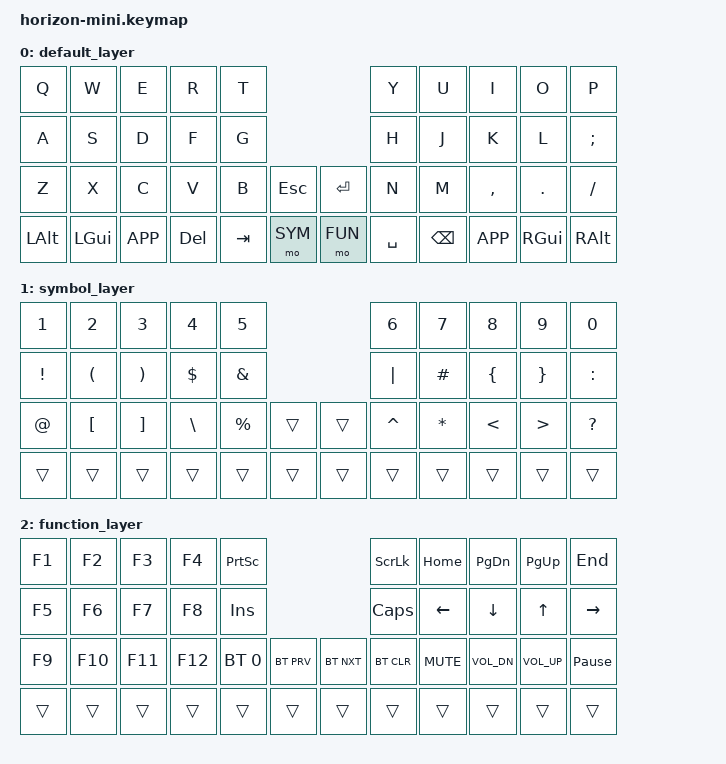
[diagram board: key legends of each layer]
/*
 * Copyright (c) 2021 The ZMK Contributors
 *
 * SPDX-License-Identifier: MIT
 */

#include <behaviors.dtsi>
#include <dt-bindings/zmk/keys.h>
#include <dt-bindings/zmk/bt.h>

#define DEF 0
#define SYM 1
#define FUN 2

/ {
    keymap {
        compatible = "zmk,keymap";

        default_layer {
            // -------------------------------------------------------------------------------------------------
            // |   Q   |   W   |   E   |   R   |   T   |---------------|   Y   |   U   |   I   |   O   |   P   |
            // |   A   |   S   |   D   |   F   |   G   |---------------|   H   |   J   |   K   |   L   |   ;   |
            // |   Z   |   X   |   C   |   V   |   B   |  ESC  | ENTER |   N   |   M   |   ,   |   .   |   /   |
            // | LALT  | LGUI  | K_APP |  DEL  |  TAB  |  SYM  |  FUN  | SPACE | BSPC  | K_APP | RGUI  | RALT  |
            bindings = <
                &kp Q    &kp W    &kp E     &kp R   &kp T                     &kp Y     &kp U    &kp I     &kp O    &kp P    
                &kp A    &kp S    &kp D     &kp F   &kp G                     &kp H     &kp J    &kp K     &kp L    &kp SEMI 
                &kp Z    &kp X    &kp C     &kp V   &kp B   &kp ESC &kp ENTER &kp N     &kp M    &kp COMMA &kp DOT  &kp SLASH
                &kp LALT &kp LGUI &kp K_APP &kp DEL &kp TAB &mo SYM &mo FUN   &kp SPACE &kp BSPC &kp K_APP &kp RGUI &kp RALT 
            >;
        };

        symbol_layer {
            // -------------------------------------------------------------------------------------------------
            // |   1   |   2   |   3   |   4   |   5   |---------------|   6   |   7   |   8   |   9   |   0   |
            // |   !   |   (   |   )   |   $   |   &   |---------------|   |   |   #   |   {   |   }   |   :   |
            // |   @   |   [   |   ]   |   \   |   %   |       |       |   ^   |   *   |   <   |   >   |   ?   |
            // |       |       |       |       |       |       |       |       |       |       |       |       |
            bindings = <
                &kp N1   &kp N2   &kp N3   &kp N4   &kp N5                  &kp N6    &kp N7    &kp N8   &kp N9   &kp N0
                &kp EXCL &kp LPAR &kp RPAR &kp DLLR &kp AMPS                &kp PIPE  &kp HASH  &kp LBRC &kp RBRC &kp COLON
                &kp AT   &kp LBKT &kp RBKT &kp BSLH &kp PRCNT &trans &trans &kp CARET &kp ASTRK &kp LT   &kp GT   &kp QMARK
                &trans   &trans   &trans   &trans   &trans    &trans &trans &trans    &trans    &trans   &trans   &trans
            >;
        };

        function_layer {
            // -------------------------------------------------------------------------------------------------
            // |  F1   |  F2   |  F3   |  F4   | PSCRN |---------------| SLCK  | HOME  | PG_DN | PG_UP |  END  |
            // |  F5   |  F6   |  F7   |  F8   |  INS  |---------------| CLCK  | LEFT  | DOWN  |  UP   | RIGHT |
            // |  F9   |  F10  |  F11  |  F12  |  BT0  |  BT-  |  BT+  | BTCLR | MUTE  | VOL-  | VOL+  | PS/BK |
            // |       |       |       |       |       |       |       |       |       |       |       |       |
            bindings = <
                &kp F1  &kp F2   &kp F3   &kp F4  &kp PSCRN                          &kp SLCK   &kp HOME   &kp PG_DN    &kp PG_UP    &kp END        
                &kp F5  &kp F6   &kp F7   &kp F8  &kp INS                            &kp CLCK   &kp LEFT   &kp DOWN     &kp UP       &kp RIGHT      
                &kp F9  &kp F10  &kp F11  &kp F12 &bt BT_SEL 0 &bt BT_PRV &bt BT_NXT &bt BT_CLR &kp K_MUTE &kp K_VOL_DN &kp K_VOL_UP &kp PAUSE_BREAK
                &trans  &trans   &trans   &trans  &trans       &trans     &trans     &trans     &trans     &trans       &trans       &trans         
            >;
        };
    };
};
